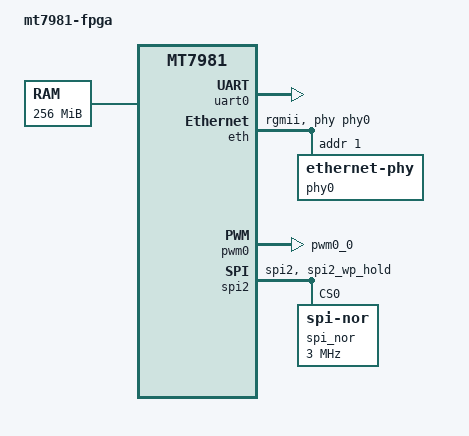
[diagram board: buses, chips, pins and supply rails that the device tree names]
// SPDX-License-Identifier: GPL-2.0
/*
 * Copyright (c) 2021 MediaTek Inc.
 * Author: Sam Shih <sam.shih@mediatek.com>
 */

/dts-v1/;
#include "mt7981-fpga.dtsi"
#include <dt-bindings/gpio/gpio.h>

/ {
	#address-cells = <1>;
	#size-cells = <1>;
	model = "mt7981-fpga";
	compatible = "mediatek,mt7981", "mediatek,mt7981-fpga";
	chosen {
		stdout-path = &uart0;
	};

	memory@40000000 {
		device_type = "memory";
		reg = <0x40000000 0x10000000>;
	};
};

&uart0 {
	status = "okay";
};

&uart1 {
	pinctrl-names = "default";
	pinctrl-0 = <&uart1_pins>;
	status = "disabled";
};

&eth {
	status = "okay";
	mediatek,gmac-id = <0>;
	phy-mode = "rgmii";
	phy-handle = <&phy0>;

	phy0: ethernet-phy@0 {
		reg = <1>;
	};
};

&pinctrl {
	spi2_flash_pins: spi2-spi2-pins {
		mux {
			function = "spi";
			groups = "spi2", "spi2_wp_hold";
		};
	};
	spic_pins: spi1-spi1-0-pins {
		mux {
			function = "spi";
			groups = "spi1_1";
		};
	};
	uart1_pins: spi2-uart1-1-pins {
		mux {
			function = "uart";
			groups = "uart1_1_rx_tx", "uart1_1_cts_rts";
		};
	};
	pwm_pins: pwm0-pwm0-0-pins {
		mux {
			function = "pwm";
			groups = "pwm0_0";
		};
	};
};

&pwm0 {
	pinctrl-names = "default";
	pinctrl-0 = <&pwm_pins>;
	status = "okay";
};

&spi2 {
	#address-cells = <1>;
	#size-cells = <0>;
	pinctrl-names = "default";
	pinctrl-0 = <&spi2_flash_pins>;
	status = "okay";
	must_tx;
	enhance_timing;
	dma_ext;
	ipm_design;
	support_quad;
	tick_dly = <0>;
	sample_sel = <0>;

	spi_nor@0 {
		compatible = "jedec,spi-nor";
		reg = <0>;
		spi-max-frequency = <3000000>;
	};
};
